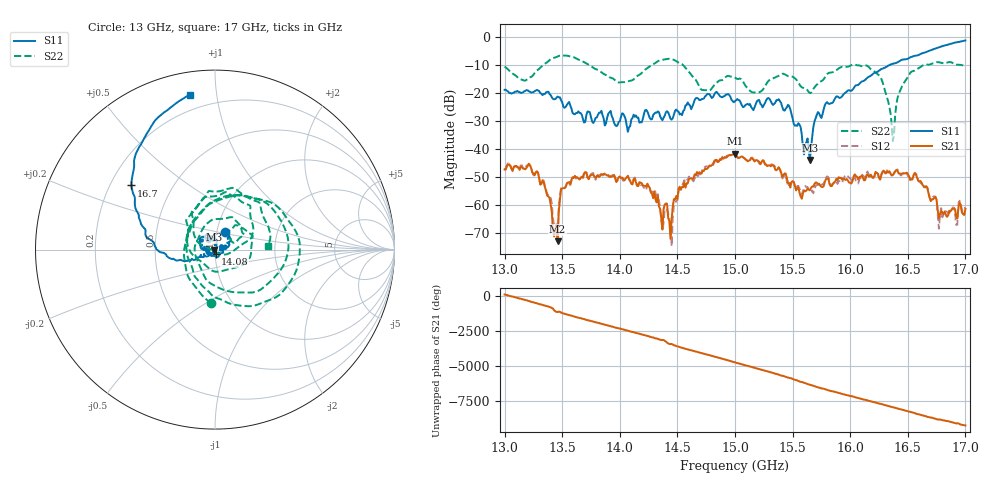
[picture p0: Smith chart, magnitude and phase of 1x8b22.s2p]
!Keysight Technologies,P9374A,MY57211807,A.19.30.04
!Date: Friday, May 08, 2026 14:25:57
!Correction: S11(C  2-Port  )
!S21(C  2-Port  )
!S12(C  2-Port  )
!S22(C  2-Port  )
!S2P File: Measurements: S11, S21, S12, S22:
# Hz S  dB  R 50
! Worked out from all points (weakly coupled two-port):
!   401 points, 13 GHz to 17 GHz, reference 50 ohm
!   highest |S21| = -41.55 dB at 15 GHz (marker M1); lowest = -72.9 dB at 13.46 GHz (marker M2)
!   lowest |S11| = -43.8 dB at 15.65 GHz (marker M3), VSWR 1.01, Z = 49.4 - j0.0917 ohm
!   |S11| at or under -10 dB: start of sweep to 16.34 GHz
!   |S22| runs from -37.0 to -6.5 dB; largest |S21 - S12| = 0.00077
!   S11 on the Smith chart (normalised r, x): 13 GHz: 1.10, +0.22; 14.08 GHz: 1.00, -0.05; 16.7 GHz: 0.29, +0.31; 17 GHz: 0.12, +0.84
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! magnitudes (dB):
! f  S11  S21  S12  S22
! 13 GHz  -18.8  -47.2  -47.0  -10.5
! 13.28 GHz  -18.8  -47.8  -48.1  -11.9
! 13.46 GHz  -21.2  -72.9  -69.9  -6.9
! 13.51 GHz  -24.7  -53.8  -53.6  -6.5
! 13.67 GHz  -27.7  -49.8  -50.0  -8.5
! 14.08 GHz  -32.2  -50.6  -50.4  -15.6
! 14.34 GHz  -26.8  -60.5  -58.2  -8.4
! 14.44 GHz  -29.1  -71.9  -67.4  -7.8
! 14.58 GHz  -24.2  -52.1  -50.9  -11.4
! 14.73 GHz  -21.9  -47.7  -46.7  -18.9
! 15 GHz  -22.8  -41.6  -41.6  -14.4
! 15.38 GHz  -22.1  -46.4  -46.4  -13.8
! 15.65 GHz  -43.8  -54.6  -55.1  -20.0
! 15.67 GHz  -35.6  -53.3  -54.6  -19.2
! 15.79 GHz  -23.5  -50.6  -50.1  -13.7
! 16.14 GHz  -14.8  -49.3  -48.7  -10.1
! 16.34 GHz  -10.0  -47.9  -47.9  -24.8
! 16.37 GHz  -9.5  -49.1  -49.1  -37.0
! 16.48 GHz  -7.9  -48.5  -48.8  -15.5
! 16.7 GHz  -4.6  -58.5  -58.0  -9.6
! 16.78 GHz  -3.5  -63.2  -63.4  -9.0
! 17 GHz  -1.2  -61.2  -60.7  -10.6
